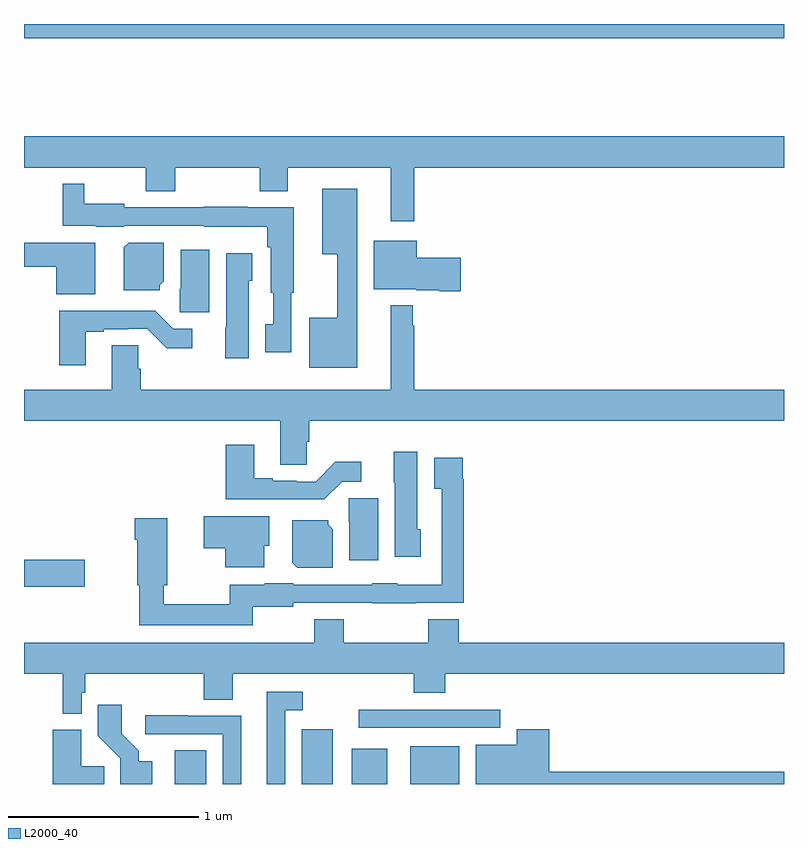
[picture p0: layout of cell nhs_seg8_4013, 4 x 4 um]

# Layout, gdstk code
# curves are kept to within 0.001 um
import gdstk
lib = gdstk.Library(unit=1e-6, precision=1e-09)
def R(c, l, rs):  # rectangles x0, y0, x1, y1
    for r in rs: c.add(gdstk.rectangle(r[:2], r[2:], *l))
def P(c, l, *ps):  # polygons
    for p in ps: c.add(gdstk.Polygon(p, *l))
L2000_40 = (2000, 40)

nhs_seg8_4013 = lib.new_cell('nhs_seg8_4013')
R(nhs_seg8_4013, L2000_40, [(357.794,1135.9,357.958,1136.078), (358.463,1135.9,358.624,1136.188), (358.724,1135.9,358.912,1136.086), (359.033,1135.9,359.29,1136.098), (358.761,1136.196,359.506,1136.292), (357,1136.938,357.319,1137.08), (357,1139.824,361,1139.9)])
P(nhs_seg8_4013, L2000_40, [(359.053,1139.144),(361,1139.144),(361,1139.308),(357,1139.308),(357,1139.144),(357.64,1139.144),(357.64,1139.02),(357.795,1139.02),(357.795,1139.144),(358.24,1139.144),(358.24,1139.02),(358.387,1139.02),(358.387,1139.144),(358.931,1139.144),(358.931,1138.863),(359.053,1138.863)],
  [(358.407,1138.485),(358.42,1138.485),(358.42,1138.935),(358.177,1138.935),(358.177,1138.937),(357.945,1138.937),(357.945,1138.935),(357.528,1138.935),(357.528,1138.954),(357.316,1138.954),(357.316,1139.059),(357.205,1139.059),(357.205,1138.838),(357.378,1138.838),(357.378,1138.832),(357.528,1138.832),(357.528,1138.839),(357.945,1138.839),(357.945,1138.832),(358.28,1138.832),(358.28,1138.725),(358.298,1138.725),(358.298,1138.485),(358.311,1138.485),(358.311,1138.321),(358.271,1138.321),(358.271,1138.173),(358.407,1138.173)],
  [(358.753,1139.032),(358.571,1139.032),(358.571,1138.688),(358.649,1138.688),(358.649,1138.354),(358.502,1138.354),(358.502,1138.091),(358.753,1138.091)],
  [(359.299,1138.671),(359.068,1138.671),(359.068,1138.759),(358.841,1138.759),(358.841,1138.505),(359.064,1138.505),(359.064,1138.499),(359.186,1138.499),(359.186,1138.493),(359.299,1138.493)],
  [(357.714,1138.524),(357.736,1138.546),(357.736,1138.75),(357.55,1138.75),(357.524,1138.724),(357.524,1138.499),(357.714,1138.499)],
  [(357.376,1138.75),(357,1138.75),(357,1138.622),(357.17,1138.622),(357.17,1138.478),(357.376,1138.478)],
  [(357.976,1138.711),(357.824,1138.711),(357.824,1138.506),(357.82,1138.506),(357.82,1138.383),(357.976,1138.383)],
  [(358.183,1138.548),(358.201,1138.548),(358.201,1138.693),(358.064,1138.693),(358.064,1138.302),(358.058,1138.302),(358.058,1138.14),(358.183,1138.14)],
  [(358.488,1137.702),(358.502,1137.702),(358.502,1137.812),(361,1137.812),(361,1137.976),(359.053,1137.976),(359.053,1138.313),(359.045,1138.313),(359.045,1138.42),(358.931,1138.42),(358.931,1137.976),(357.614,1137.976),(357.614,1138.086),(357.6,1138.086),(357.6,1138.208),(357.461,1138.208),(357.461,1137.976),(357,1137.976),(357,1137.812),(358.349,1137.812),(358.349,1137.58),(358.488,1137.58)],
  [(357.325,1138.281),(357.421,1138.281),(357.421,1138.293),(357.548,1138.293),(357.548,1138.296),(357.648,1138.296),(357.751,1138.194),(357.886,1138.194),(357.886,1138.296),(357.786,1138.296),(357.692,1138.39),(357.185,1138.39),(357.185,1138.104),(357.325,1138.104)],
  [(358.674,1137.492),(358.774,1137.492),(358.774,1137.595),(358.639,1137.595),(358.536,1137.492),(358.436,1137.492),(358.436,1137.495),(358.309,1137.495),(358.309,1137.508),(358.213,1137.508),(358.213,1137.685),(358.061,1137.685),(358.061,1137.399),(358.58,1137.398)],
  [(359.089,1137.24),(359.071,1137.24),(359.071,1137.649),(358.946,1137.649),(358.946,1137.486),(358.952,1137.486),(358.952,1137.096),(359.089,1137.096)],
  [(358.204,1136.834),(358.416,1136.834),(358.416,1136.853),(358.833,1136.853),(358.833,1136.852),(359.065,1136.852),(359.065,1136.853),(359.315,1136.853),(359.315,1137.503),(359.308,1137.503),(359.308,1137.616),(359.159,1137.616),(359.159,1137.455),(359.199,1137.455),(359.199,1136.95),(358.965,1136.95),(358.965,1136.956),(358.833,1136.956),(358.833,1136.949),(358.416,1136.949),(358.416,1136.956),(358.266,1136.956),(358.266,1136.95),(358.083,1136.95),(358.083,1136.845),(357.736,1136.845),(357.736,1136.945),(357.754,1136.945),(357.754,1137.298),(357.584,1137.298),(357.584,1137.185),(357.596,1137.185),(357.596,1136.945),(357.607,1136.945),(357.607,1136.736),(358.204,1136.736)],
  [(358.864,1137.405),(358.708,1137.405),(358.708,1137.282),(358.712,1137.282),(358.712,1137.078),(358.864,1137.078)],
  [(358.264,1137.153),(358.291,1137.153),(358.291,1137.31),(357.947,1137.31),(357.947,1137.142),(358.058,1137.142),(358.058,1137.041),(358.264,1137.041)],
  [(358.624,1137.242),(358.602,1137.264),(358.602,1137.289),(358.412,1137.289),(358.412,1137.064),(358.438,1137.038),(358.624,1137.038)],
  [(357.303,1136.379),(357.323,1136.379),(357.323,1136.48),(357.947,1136.48),(357.947,1136.344),(358.099,1136.344),(358.099,1136.48),(359.051,1136.48),(359.051,1136.381),(359.216,1136.381),(359.216,1136.48),(361,1136.48),(361,1136.644),(359.288,1136.644),(359.288,1136.768),(359.128,1136.768),(359.128,1136.644),(358.683,1136.644),(358.683,1136.768),(358.528,1136.768),(358.528,1136.644),(357,1136.644),(357,1136.48),(357.205,1136.48),(357.205,1136.27),(357.303,1136.27)],
  [(358.374,1136.289),(358.468,1136.289),(358.468,1136.385),(358.277,1136.385),(358.277,1135.9),(358.374,1135.9)],
  [(357.676,1136.02),(357.604,1136.02),(357.604,1136.075),(357.514,1136.165),(357.514,1136.317),(357.388,1136.317),(357.388,1136.154),(357.507,1136.035),(357.507,1135.9),(357.676,1135.9)],
  [(358.144,1136.259),(357.863,1136.259),(357.863,1136.262),(357.639,1136.262),(357.639,1136.163),(358.047,1136.163),(358.047,1135.9),(358.144,1135.9)],
  [(361,1135.964),(359.765,1135.964),(359.765,1136.188),(359.594,1136.188),(359.594,1136.107),(359.378,1136.107),(359.378,1135.9),(361,1135.9)],
  [(357.422,1135.994),(357.301,1135.994),(357.301,1136.185),(357.152,1136.185),(357.152,1135.9),(357.422,1135.9)])

lib.write_gds('nhs_seg8_4013.gds')
